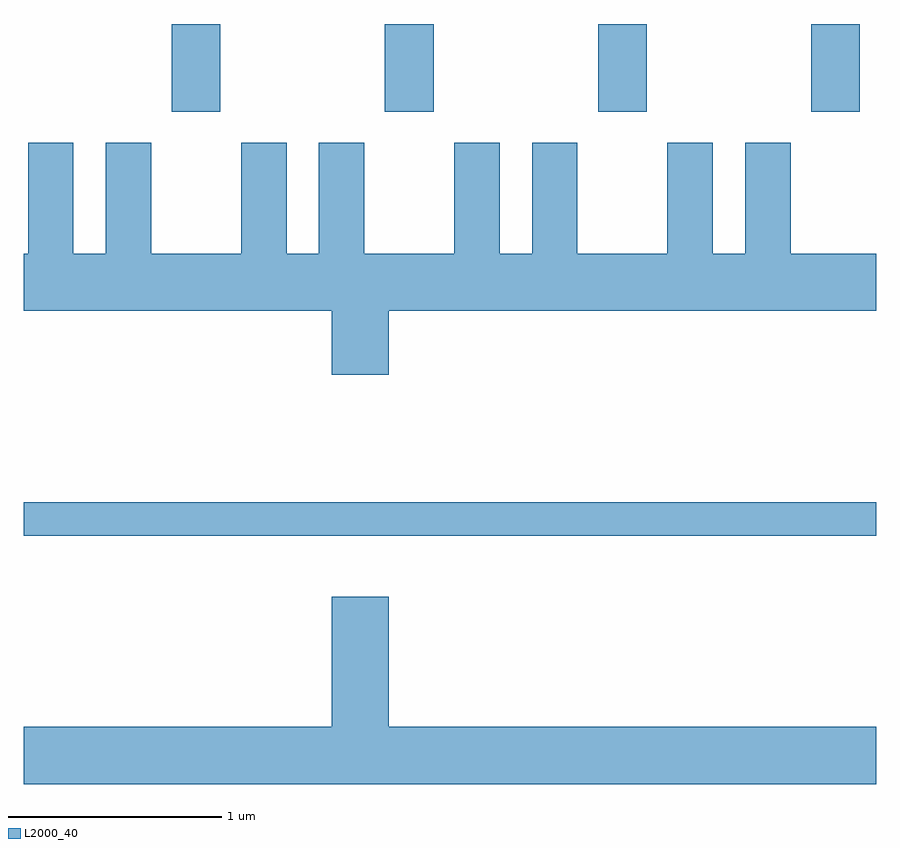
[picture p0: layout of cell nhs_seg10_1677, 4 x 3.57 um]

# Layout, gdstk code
import gdstk
lib = gdstk.Library(unit=1e-6, precision=1e-09)
def R(c, l, rs):  # rectangles x0, y0, x1, y1
    for r in rs: c.add(gdstk.rectangle(r[:2], r[2:], *l))
def A(c, l, x, y, w, h, nx, ny, dx, dy):  # array of equal rectangles
    R(c, l, [(x+i*dx, y+j*dy, x+i*dx+w, y+j*dy+h) for i in range(nx) for j in range(ny)])
def P(c, l, *ps):  # polygons
    for p in ps: c.add(gdstk.Polygon(p, *l))
L2000_40 = (2000, 40)

nhs_seg10_1677 = lib.new_cell('nhs_seg10_1677')
A(nhs_seg10_1677, L2000_40, 234.306, 2188.111, 0.228, 0.411, 4, 1, 1, 0)
R(nhs_seg10_1677, L2000_40, [(233.611,2186.121,237.611,2186.279)])
P(nhs_seg10_1677, L2000_40, [(237.611,2187.444),(237.209,2187.444),(237.209,2187.964),(236.996,2187.964),(236.996,2187.444),(236.844,2187.444),(236.844,2187.964),(236.631,2187.964),(236.631,2187.444),(236.209,2187.444),(236.209,2187.964),(235.996,2187.964),(235.996,2187.444),(235.844,2187.444),(235.844,2187.964),(235.631,2187.964),(235.631,2187.444),(235.209,2187.444),(235.209,2187.964),(234.996,2187.964),(234.996,2187.444),(234.844,2187.444),(234.844,2187.964),(234.631,2187.964),(234.631,2187.444),(234.209,2187.444),(234.209,2187.964),(233.996,2187.964),(233.996,2187.444),(233.844,2187.444),(233.844,2187.964),(233.631,2187.964),(233.631,2187.444),(233.611,2187.444),(233.611,2187.176),(235.056,2187.176),(235.056,2186.876),(235.324,2186.876),(235.324,2187.176),(237.611,2187.176)],
  [(237.611,2185.224),(235.324,2185.224),(235.324,2185.834),(235.056,2185.834),(235.056,2185.224),(233.611,2185.224),(233.611,2184.956),(237.611,2184.956)])

lib.write_gds('nhs_seg10_1677.gds')
